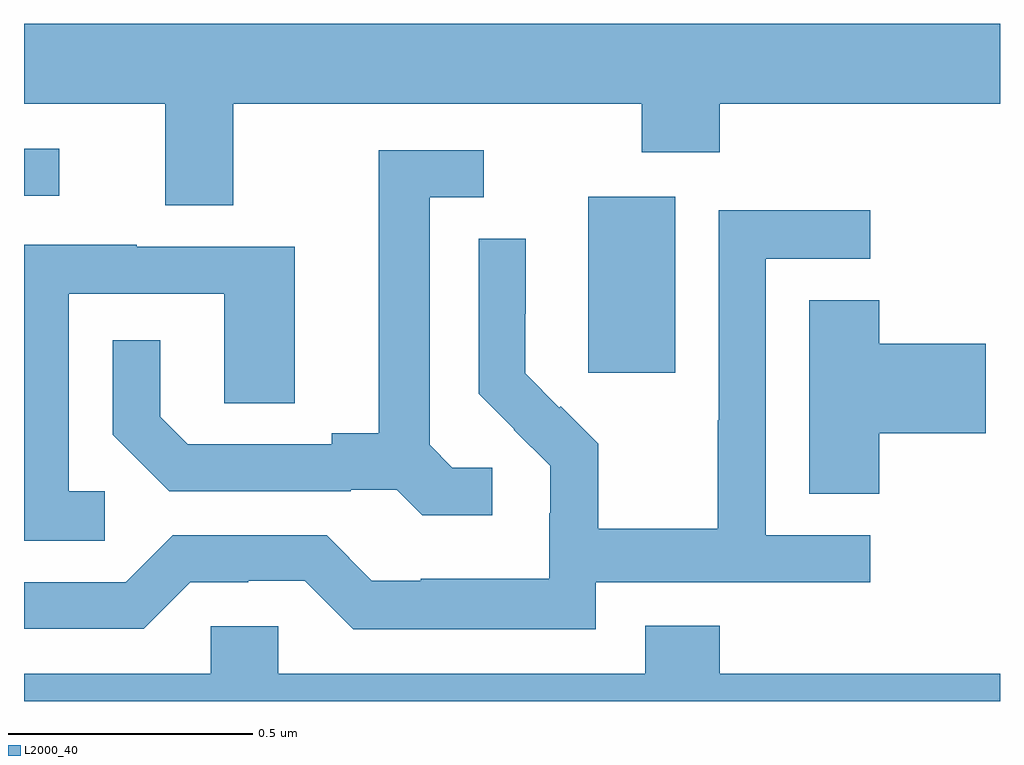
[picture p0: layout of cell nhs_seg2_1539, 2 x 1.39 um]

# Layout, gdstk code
import gdstk
lib = gdstk.Library(unit=1e-6, precision=1e-09)
def R(c, l, rs):  # rectangles x0, y0, x1, y1
    for r in rs: c.add(gdstk.rectangle(r[:2], r[2:], *l))
def P(c, l, *ps):  # polygons
    for p in ps: c.add(gdstk.Polygon(p, *l))
L2000_40 = (2000, 40)

nhs_seg2_1539 = lib.new_cell('nhs_seg2_1539')
R(nhs_seg2_1539, L2000_40, [(131.156,592.473,131.335,592.834), (130,592.836,130.072,592.932)])
P(nhs_seg2_1539, L2000_40, [(130.429,593.024),(131.266,593.024),(131.266,592.925),(131.426,592.925),(131.426,593.024),(132,593.024),(132,593.188),(130,593.188),(130,593.024),(130.289,593.024),(130.289,592.816),(130.429,592.816)],
  [(130.96,592.278),(130.878,592.278),(130.831,592.325),(130.831,592.833),(130.942,592.833),(130.942,592.929),(130.727,592.929),(130.727,592.349),(130.631,592.349),(130.631,592.326),(130.336,592.326),(130.279,592.383),(130.279,592.54),(130.182,592.54),(130.182,592.346),(130.298,592.23),(130.67,592.23),(130.67,592.233),(130.764,592.233),(130.816,592.181),(130.96,592.181)],
  [(131.172,592.044),(131.734,592.044),(131.734,592.14),(131.52,592.14),(131.52,592.707),(131.734,592.707),(131.734,592.806),(131.424,592.806),(131.424,592.376),(131.422,592.376),(131.422,592.153),(131.177,592.153),(131.177,592.327),(131.1,592.404),(131.097,592.401),(131.027,592.472),(131.027,592.594),(131.028,592.594),(131.028,592.748),(130.932,592.748),(130.932,592.43),(131.005,592.357),(131.004,592.356),(131.078,592.282),(131.078,592.185),(131.076,592.185),(131.076,592.051),(130.813,592.051),(130.813,592.047),(130.713,592.047),(130.62,592.14),(130.305,592.14),(130.209,592.044),(130,592.044),(130,591.948),(130.245,591.948),(130.341,592.044),(130.46,592.044),(130.46,592.047),(130.575,592.047),(130.675,591.947),(131.172,591.947)],
  [(130.165,592.23),(130.092,592.23),(130.092,592.635),(130.41,592.635),(130.41,592.411),(130.555,592.411),(130.555,592.731),(130.231,592.731),(130.231,592.735),(130,592.735),(130,592.129),(130.165,592.129)],
  [(131.753,592.349),(131.971,592.349),(131.971,592.532),(131.753,592.532),(131.753,592.622),(131.609,592.622),(131.609,592.225),(131.753,592.225)],
  [(132,591.856),(131.426,591.856),(131.426,591.955),(131.273,591.955),(131.273,591.856),(130.521,591.856),(130.521,591.954),(130.383,591.954),(130.383,591.856),(130,591.856),(130,591.8),(132,591.8)])

lib.write_gds('nhs_seg2_1539.gds')
